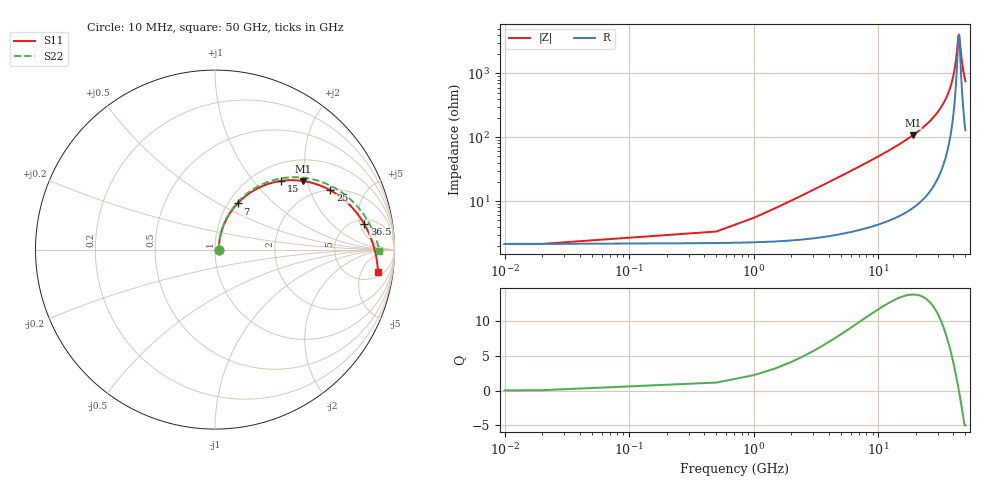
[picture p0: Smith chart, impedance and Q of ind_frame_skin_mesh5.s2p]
! Created with skrf 2.2.0 (http://scikit-rf.org).
# GHz S DB R 50.0
! Port[1] = P1
! Port[2] = P2
!freq dBS11 angS11 dBS21 angS21 dBS12 angS12 dBS22 angS22
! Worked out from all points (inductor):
!   102 points, 10 MHz to 50 GHz, reference 50 ohm
!   read as 1/Y11, port 2 shorted: L = 785 pH near 1.5 GHz
!   highest Q = 13.7 at 19 GHz (marker M1), where L = 902 pH
!   self-resonance near 44 GHz
!   S11 on the Smith chart (normalised r, x): 10 MHz: 1.04, +0.00; 7 GHz: 1.11, +0.62; 15 GHz: 1.32, +1.40; 25 GHz: 2.02, +2.79; 36.5 GHz: 5.97, +5.86; 50 GHz: 7, -10
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0.01  -33.59 1.2  -0.18 -0.0  -0.18 -0.0  -33.59 1.2
0.5  -30.25 44.3  -0.19 -1.6  -0.19 -1.6  -30.25 44.3
1  -26.24 60.6  -0.21 -3.1  -0.21 -3.1  -26.23 60.7
1.5  -23.24 66.8  -0.23 -4.6  -0.23 -4.6  -23.24 67.0
2  -20.95 69.5  -0.25 -6.1  -0.25 -6.1  -20.96 69.7
2.5  -19.14 70.5  -0.28 -7.5  -0.28 -7.5  -19.14 70.7
3.5  -16.39 70.3  -0.35 -10.4  -0.35 -10.4  -16.39 70.7
4.5  -14.34 69.0  -0.43 -13.2  -0.43 -13.2  -14.35 69.5
5.5  -12.74 67.1  -0.52 -16.0  -0.52 -16.0  -12.75 67.8
7  -10.85 63.9  -0.68 -20.0  -0.68 -20.0  -10.86 64.8
8.5  -9.39 60.5  -0.86 -23.9  -0.86 -23.9  -9.40 61.6
11.5  -7.22 53.7  -1.29 -31.2  -1.29 -31.2  -7.24 55.2
15  -5.50 46.1  -1.87 -39.2  -1.87 -39.2  -5.51 48.0
17  -4.75 42.0  -2.22 -43.4  -2.22 -43.4  -4.77 44.1
19  -4.14 38.0  -2.60 -47.4  -2.60 -47.4  -4.15 40.5
25  -2.82 27.2  -3.79 -58.3  -3.79 -58.3  -2.83 30.4
25.5  -2.73 26.3  -3.89 -59.1  -3.89 -59.1  -2.75 29.7
29.5  -2.16 19.9  -4.72 -65.4  -4.72 -65.4  -2.17 23.8
33.5  -1.73 13.9  -5.57 -71.3  -5.57 -71.3  -1.74 18.4
36.5  -1.47 9.6  -6.22 -75.4  -6.22 -75.4  -1.49 14.6
42  -1.11 2.3  -7.43 -82.4  -7.43 -82.4  -1.12 8.2
50  -0.76 -7.8  -9.29 -91.7  -9.29 -91.7  -0.76 -0.4
